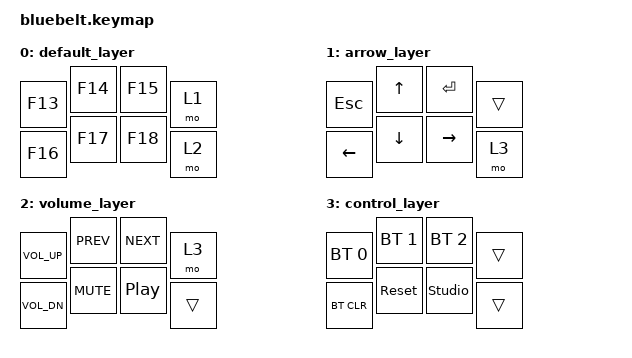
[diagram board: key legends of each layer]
#include <behaviors.dtsi>
#include <dt-bindings/zmk/keys.h>
#include <dt-bindings/zmk/bt.h>

/ {
    keymap {
        compatible = "zmk,keymap";

        default_layer { // Layer 0
            bindings = <
                &kp F13    &kp F14    &kp F15    &mo 1
                &kp F16    &kp F17    &kp F18    &mo 2
            >;
        };

        arrow_layer { // Layer 1
            bindings = <
                &kp ESC     &kp UP      &kp ENTER    &trans
                &kp LEFT    &kp DOWN    &kp RIGHT    &mo 3
            >;
        };

        volume_layer { // Layer 2
            bindings = <
                &kp C_VOL_UP    &kp C_PREV    &kp C_NEXT    &mo 3
                &kp C_VOL_DN    &kp C_MUTE    &kp C_PP      &trans
            >;
        };
        
        control_layer { // Layer 3
            bindings = <
                &bt BT_SEL 0    &bt BT_SEL 1    &bt BT_SEL 2      &trans
                &bt BT_CLR      &sys_reset      &studio_unlock    &trans
            >;
        };
    };
 };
